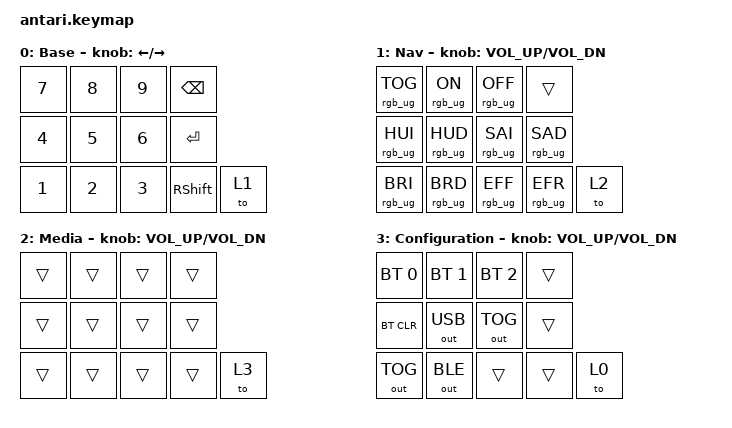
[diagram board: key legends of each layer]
/*
 * Copyright (c) 2020 The ZMK Contributors
 *
 * SPDX-License-Identifier: MIT
 */

#include <behaviors.dtsi>
#include <dt-bindings/zmk/bt.h>
#include <dt-bindings/zmk/keys.h>
#include <dt-bindings/zmk/outputs.h>
#include <dt-bindings/zmk/rgb.h>

#define FRST  0
#define SCND  1
#define THRD  2
#define FRTH  3

/ {
    keymap {
        compatible = "zmk,keymap";

        base_layer {
            label = "Base";
            bindings = <
&kp N7        &kp N8        &kp N9        &kp BACKSPACE
&kp NUMBER_4  &kp N5        &kp NUMBER_6  &kp ENTER
&kp NUMBER_1  &kp NUMBER_2  &kp NUMBER_3  &kp RIGHT_SHIFT  &to 1
            >;

            sensor-bindings = <&inc_dec_kp LEFT_ARROW RIGHT_ARROW>;
        };

        nav_layer {
            label = "Nav";
            bindings = <
&rgb_ug RGB_TOG  &rgb_ug RGB_ON   &rgb_ug RGB_OFF  &trans
&rgb_ug RGB_HUI  &rgb_ug RGB_HUD  &rgb_ug RGB_SAI  &rgb_ug RGB_SAD
&rgb_ug RGB_BRI  &rgb_ug RGB_BRD  &rgb_ug RGB_EFF  &rgb_ug RGB_EFR  &to 2
            >;

            sensor-bindings = <&inc_dec_kp C_VOL_UP C_VOL_DN>;
        };

        media_layer {
            label = "Media";
            bindings = <
&trans  &trans  &trans  &trans
&trans  &trans  &trans  &trans
&trans  &trans  &trans  &trans  &to 3
            >;

            sensor-bindings = <&inc_dec_kp C_VOL_UP C_VOL_DN>;
        };

        configuration_layer {
            label = "Configuration";
            bindings = <
&bt BT_SEL 0  &bt BT_SEL 1  &bt BT_SEL 2  &trans
&bt BT_CLR    &out OUT_USB  &out OUT_TOG  &trans
&out OUT_TOG  &out OUT_BLE  &trans        &trans  &to 0
            >;

            sensor-bindings = <&inc_dec_kp C_VOL_UP C_VOL_DN>;
        };
    };
};
